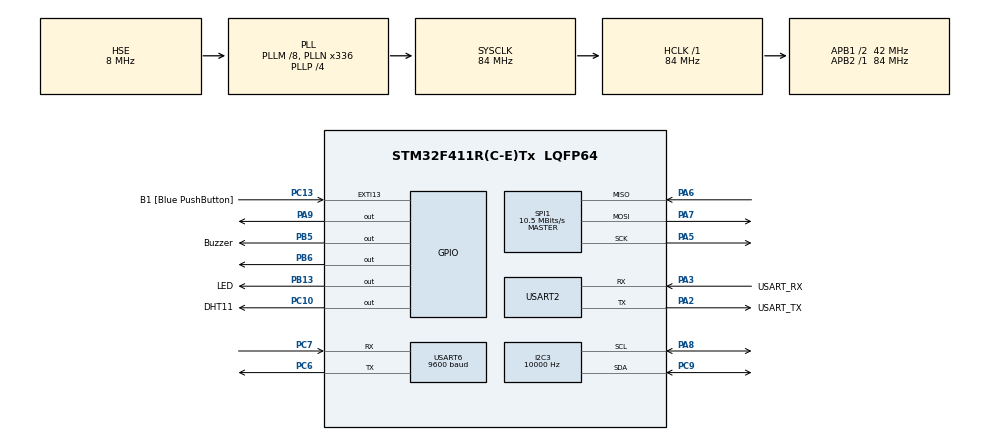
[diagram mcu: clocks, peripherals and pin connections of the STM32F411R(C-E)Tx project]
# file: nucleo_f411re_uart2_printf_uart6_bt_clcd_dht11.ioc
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I2C3.ClockSpeed=10000
Mcu.Family=STM32F4
Mcu.Name=STM32F411R(C-E)Tx
Mcu.Package=LQFP64
NVIC.PriorityGroup=NVIC_PRIORITYGROUP_0
NVIC.USART2_IRQn=true\:0\:0\:false\:false\:true\:true\:true\:true
NVIC.USART6_IRQn=true\:0\:0\:false\:false\:true\:true\:true\:true
PA13.GPIO_Label=TMS
PA13.Mode=Serial_Wire
PA13.Signal=SYS_JTMS-SWDIO
PA14.GPIO_Label=TCK
PA14.Mode=Serial_Wire
PA14.Signal=SYS_JTCK-SWCLK
PA2.GPIO_Label=USART_TX
PA2.Mode=Asynchronous
PA2.Signal=USART2_TX
PA3.GPIO_Label=USART_RX
PA3.Mode=Asynchronous
PA3.Signal=USART2_RX
PA5.Mode=Full_Duplex_Master
PA5.Signal=SPI1_SCK
PA6.Mode=Full_Duplex_Master
PA6.Signal=SPI1_MISO
PA7.Mode=Full_Duplex_Master
PA7.Signal=SPI1_MOSI
PA8.Mode=I2C
PA8.Signal=I2C3_SCL
PA9.Signal=GPIO_Output
PB13.GPIO_Label=LED
PB13.Signal=GPIO_Output
PB3.GPIO_Label=SWO
PB3.Signal=SYS_JTDO-SWO
PB5.GPIO_Label=Buzzer
PB5.Signal=GPIO_Output
PB6.Signal=GPIO_Output
PC10.GPIO_Label=DHT11
PC10.Signal=GPIO_Output
PC13-ANTI_TAMP.GPIO_Label=B1 [Blue PushButton]
PC13-ANTI_TAMP.GPIO_ModeDefaultEXTI=GPIO_MODE_IT_FALLING
PC13-ANTI_TAMP.Signal=GPXTI13
PC14-OSC32_IN.Mode=LSE-External-Oscillator
PC14-OSC32_IN.Signal=RCC_OSC32_IN
PC15-OSC32_OUT.Mode=LSE-External-Oscillator
PC15-OSC32_OUT.Signal=RCC_OSC32_OUT
PC6.Mode=Asynchronous
PC6.Signal=USART6_TX
PC7.Mode=Asynchronous
PC7.Signal=USART6_RX
PC9.Mode=I2C
PC9.Signal=I2C3_SDA
PH0\ -\ OSC_IN.Mode=HSE-External-Clock-Source
PH0\ -\ OSC_IN.Signal=RCC_OSC_IN
PH1\ -\ OSC_OUT.Mode=HSE-External-Clock-Source
PH1\ -\ OSC_OUT.Signal=RCC_OSC_OUT
ProjectManager.HeapSize=0x200
ProjectManager.StackSize=0x400
ProjectManager.TargetToolchain=STM32CubeIDE
RCC.48MHZClocksFreq_Value=84000000
RCC.AHBFreq_Value=84000000
RCC.APB1CLKDivider=RCC_HCLK_DIV2
RCC.APB1Freq_Value=42000000
RCC.APB1TimFreq_Value=84000000
RCC.APB2Freq_Value=84000000
RCC.APB2TimFreq_Value=84000000
RCC.CortexFreq_Value=84000000
RCC.FLatency-AdvancedSettings=FLASH_LATENCY_2
RCC.HCLKFreq_Value=84000000
RCC.HSE_VALUE=8000000
RCC.HSI_VALUE=16000000
RCC.PLLM=8
RCC.PLLN=336
RCC.PLLP=RCC_PLLP_DIV4
RCC.PLLSourceVirtual=RCC_PLLSOURCE_HSE
RCC.SYSCLKFreq_VALUE=84000000
RCC.SYSCLKSource=RCC_SYSCLKSOURCE_PLLCLK
RCC.VCOOutputFreq_Value=336000000
SPI1.BaudRatePrescaler=SPI_BAUDRATEPRESCALER_8
SPI1.CalculateBaudRate=10.5 MBits/s
SPI1.Direction=SPI_DIRECTION_2LINES
SPI1.Mode=SPI_MODE_MASTER
SPI1.VirtualType=VM_MASTER
USART2.VirtualMode=VM_ASYNC
USART6.BaudRate=9600
USART6.VirtualMode=VM_ASYNC
board=NUCLEO-F411RE

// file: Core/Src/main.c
/* USER CODE BEGIN Header */
/**
  ******************************************************************************
  * @file           : main.c
  * @brief          : Main program body
  ******************************************************************************
  */
/* USER CODE END Header */
#include "main.h"

/* USER CODE BEGIN Includes */
#include "ap.h"
/* USER CODE END Includes */

I2C_HandleTypeDef hi2c3;

SPI_HandleTypeDef hspi1;

UART_HandleTypeDef huart2;
UART_HandleTypeDef huart6;

/* USER CODE BEGIN PV */
uint8_t btchar;
uint8_t rx2char;
volatile char rx2Data[150];
volatile uint8_t rx2Flag = 0;
/* USER CODE END PV */

void SystemClock_Config(void);
static void MX_GPIO_Init(void);
static void MX_USART2_UART_Init(void);
static void MX_USART6_UART_Init(void);
static void MX_I2C3_Init(void);
static void MX_SPI1_Init(void);

int main(void)
{

  /* MCU Configuration--------------------------------------------------------*/

  /* Reset of all peripherals, Initializes the Flash interface and the Systick. */
  HAL_Init();

  /* Configure the system clock */
  SystemClock_Config();

  /* Initialize all configured peripherals */
  MX_GPIO_Init();
  MX_USART2_UART_Init();
  MX_USART6_UART_Init();
  MX_I2C3_Init();
  MX_SPI1_Init();
  /* USER CODE BEGIN 2 */
  HAL_UART_Receive_IT(&huart2, &rx2char, 1);
  btInit();
  apInit();
  /* USER CODE END 2 */

  /* Infinite loop */
  /* USER CODE BEGIN WHILE */
  while (1)
    {
    apMain();
    /* USER CODE END WHILE */

  }
}

void SystemClock_Config(void)
{
  RCC_OscInitTypeDef RCC_OscInitStruct = {0};
  RCC_ClkInitTypeDef RCC_ClkInitStruct = {0};

  /** Configure the main internal regulator output voltage
  */
  __HAL_RCC_PWR_CLK_ENABLE();
  __HAL_PWR_VOLTAGESCALING_CONFIG(PWR_REGULATOR_VOLTAGE_SCALE1);

  /** Initializes the RCC Oscillators according to the specified parameters
  * in the RCC_OscInitTypeDef structure.
  */
  RCC_OscInitStruct.OscillatorType = RCC_OSCILLATORTYPE_HSE;
  RCC_OscInitStruct.HSEState = RCC_HSE_BYPASS;
  RCC_OscInitStruct.PLL.PLLState = RCC_PLL_ON;
  RCC_OscInitStruct.PLL.PLLSource = RCC_PLLSOURCE_HSE;
  RCC_OscInitStruct.PLL.PLLM = 8;
  RCC_OscInitStruct.PLL.PLLN = 336;
  RCC_OscInitStruct.PLL.PLLP = RCC_PLLP_DIV4;
  RCC_OscInitStruct.PLL.PLLQ = 4;
  if (HAL_RCC_OscConfig(&RCC_OscInitStruct) != HAL_OK)
  {
    Error_Handler();
  }

  /** Initializes the CPU, AHB and APB buses clocks
  */
  RCC_ClkInitStruct.ClockType = RCC_CLOCKTYPE_HCLK|RCC_CLOCKTYPE_SYSCLK
                              |RCC_CLOCKTYPE_PCLK1|RCC_CLOCKTYPE_PCLK2;
  RCC_ClkInitStruct.SYSCLKSource = RCC_SYSCLKSOURCE_PLLCLK;
  RCC_ClkInitStruct.AHBCLKDivider = RCC_SYSCLK_DIV1;
  RCC_ClkInitStruct.APB1CLKDivider = RCC_HCLK_DIV2;
  RCC_ClkInitStruct.APB2CLKDivider = RCC_HCLK_DIV1;

  if (HAL_RCC_ClockConfig(&RCC_ClkInitStruct, FLASH_LATENCY_2) != HAL_OK)
  {
    Error_Handler();
  }
}

static void MX_I2C3_Init(void)
{

  hi2c3.Instance = I2C3;
  hi2c3.Init.ClockSpeed = 10000;
  hi2c3.Init.DutyCycle = I2C_DUTYCYCLE_2;
  hi2c3.Init.OwnAddress1 = 0;
  hi2c3.Init.AddressingMode = I2C_ADDRESSINGMODE_7BIT;
  hi2c3.Init.DualAddressMode = I2C_DUALADDRESS_DISABLE;
  hi2c3.Init.OwnAddress2 = 0;
  hi2c3.Init.GeneralCallMode = I2C_GENERALCALL_DISABLE;
  hi2c3.Init.NoStretchMode = I2C_NOSTRETCH_DISABLE;
  if (HAL_I2C_Init(&hi2c3) != HAL_OK)
  {
    Error_Handler();
  }

}

static void MX_SPI1_Init(void)
{

  /* SPI1 parameter configuration*/
  hspi1.Instance = SPI1;
  hspi1.Init.Mode = SPI_MODE_MASTER;
  hspi1.Init.Direction = SPI_DIRECTION_2LINES;
  hspi1.Init.DataSize = SPI_DATASIZE_8BIT;
  hspi1.Init.CLKPolarity = SPI_POLARITY_LOW;
  hspi1.Init.CLKPhase = SPI_PHASE_1EDGE;
  hspi1.Init.NSS = SPI_NSS_SOFT;
  hspi1.Init.BaudRatePrescaler = SPI_BAUDRATEPRESCALER_8;
  hspi1.Init.FirstBit = SPI_FIRSTBIT_MSB;
  hspi1.Init.TIMode = SPI_TIMODE_DISABLE;
  hspi1.Init.CRCCalculation = SPI_CRCCALCULATION_DISABLE;
  hspi1.Init.CRCPolynomial = 10;
  if (HAL_SPI_Init(&hspi1) != HAL_OK)
  {
    Error_Handler();
  }

}

static void MX_USART2_UART_Init(void)
{

  huart2.Instance = USART2;
  huart2.Init.BaudRate = 115200;
  huart2.Init.WordLength = UART_WORDLENGTH_8B;
  huart2.Init.StopBits = UART_STOPBITS_1;
  huart2.Init.Parity = UART_PARITY_NONE;
  huart2.Init.Mode = UART_MODE_TX_RX;
  huart2.Init.HwFlowCtl = UART_HWCONTROL_NONE;
  huart2.Init.OverSampling = UART_OVERSAMPLING_16;
  if (HAL_UART_Init(&huart2) != HAL_OK)
  {
    Error_Handler();
  }

}

static void MX_USART6_UART_Init(void)
{

  huart6.Instance = USART6;
  huart6.Init.BaudRate = 9600;
  huart6.Init.WordLength = UART_WORDLENGTH_8B;
  huart6.Init.StopBits = UART_STOPBITS_1;
  huart6.Init.Parity = UART_PARITY_NONE;
  huart6.Init.Mode = UART_MODE_TX_RX;
  huart6.Init.HwFlowCtl = UART_HWCONTROL_NONE;
  huart6.Init.OverSampling = UART_OVERSAMPLING_16;
  if (HAL_UART_Init(&huart6) != HAL_OK)
  {
    Error_Handler();
  }

}

static void MX_GPIO_Init(void)
{
  GPIO_InitTypeDef GPIO_InitStruct = {0};

  /* GPIO Ports Clock Enable */
  __HAL_RCC_GPIOC_CLK_ENABLE();
  __HAL_RCC_GPIOH_CLK_ENABLE();
  __HAL_RCC_GPIOA_CLK_ENABLE();
  __HAL_RCC_GPIOB_CLK_ENABLE();

  /*Configure GPIO pin Output Level */
  HAL_GPIO_WritePin(GPIOB, LED_Pin|Buzzer_Pin|GPIO_PIN_6, GPIO_PIN_RESET);

  /*Configure GPIO pin Output Level */
  HAL_GPIO_WritePin(GPIOA, GPIO_PIN_9, GPIO_PIN_RESET);

  /*Configure GPIO pin Output Level */
  HAL_GPIO_WritePin(DHT11_GPIO_Port, DHT11_Pin, GPIO_PIN_RESET);

  /*Configure GPIO pin : B1_Pin */
  GPIO_InitStruct.Pin = B1_Pin;
  GPIO_InitStruct.Mode = GPIO_MODE_IT_FALLING;
  GPIO_InitStruct.Pull = GPIO_NOPULL;
  HAL_GPIO_Init(B1_GPIO_Port, &GPIO_InitStruct);

  /*Configure GPIO pins : LED_Pin Buzzer_Pin PB6 */
  GPIO_InitStruct.Pin = LED_Pin|Buzzer_Pin|GPIO_PIN_6;
  GPIO_InitStruct.Mode = GPIO_MODE_OUTPUT_PP;
  GPIO_InitStruct.Pull = GPIO_NOPULL;
  GPIO_InitStruct.Speed = GPIO_SPEED_FREQ_LOW;
  HAL_GPIO_Init(GPIOB, &GPIO_InitStruct);

  /*Configure GPIO pin : PA9 */
  GPIO_InitStruct.Pin = GPIO_PIN_9;
  GPIO_InitStruct.Mode = GPIO_MODE_OUTPUT_PP;
  GPIO_InitStruct.Pull = GPIO_NOPULL;
  GPIO_InitStruct.Speed = GPIO_SPEED_FREQ_LOW;
  HAL_GPIO_Init(GPIOA, &GPIO_InitStruct);

  /*Configure GPIO pin : DHT11_Pin */
  GPIO_InitStruct.Pin = DHT11_Pin;
  GPIO_InitStruct.Mode = GPIO_MODE_OUTPUT_PP;
  GPIO_InitStruct.Pull = GPIO_NOPULL;
  GPIO_InitStruct.Speed = GPIO_SPEED_FREQ_LOW;
  HAL_GPIO_Init(DHT11_GPIO_Port, &GPIO_InitStruct);

}

/* USER CODE BEGIN 4 */
void HAL_UART_RxCpltCallback(UART_HandleTypeDef *huart)
{
  if (huart->Instance == USART2)
  {
    static int i = 0;
    if (rx2char == '\r' || rx2char == '\n')
    {
      rx2Data[i] = '\0';
      if (i > 0) rx2Flag = 1;
      i = 0;
    }
    else
    {
      if (i < 149) rx2Data[i++] = rx2char;
      else { rx2Data[149] = '\0'; rx2Flag = 1; i = 0; }
    }
    HAL_UART_Receive_IT(&huart2, &rx2char, 1);
  }
  if (huart->Instance == USART6)
  {
    static int i = 0;
    extern volatile char btData[];
    extern volatile uint8_t btFlag;
    if (btchar == '\r' || btchar == '\n')
    {
      btData[i] = '\0';
      if (i > 0) btFlag = 1;
      i = 0;
    }
    else
    {
      if (i < CMD_SIZE - 1) btData[i++] = btchar;
      else { btData[CMD_SIZE - 1] = '\0'; btFlag = 1; i = 0; }
    }
    HAL_UART_Receive_IT(&huart6, &btchar, 1);
  }
}
/* USER CODE END 4 */

void Error_Handler(void)
{
  __disable_irq();
  while (1)
  {
  }
}
